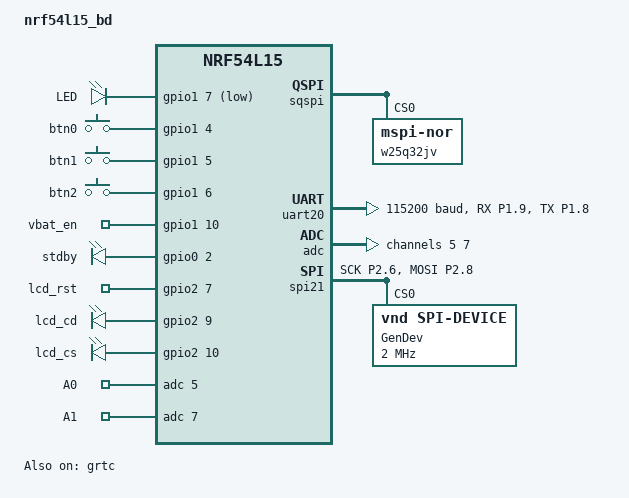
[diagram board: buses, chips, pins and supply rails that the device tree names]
/dts-v1/;
#include <nordic/nrf54l15_cpuapp.dtsi>
#include "NRF54L15_BD-pinctrl.dtsi"

/ {
	model = "nrf54l15_bd";
	compatible = "baram,NRF54L15-BD-cpuapp";

	chosen {
		zephyr,code-partition = &slot0_partition;
		zephyr,sram = &cpuapp_sram;
		zephyr,flash = &cpuapp_rram;
		zephyr,flash-controller = &rram_controller;
    zephyr,console = &uart20;
	};

  leds {
    compatible = "gpio-leds";
    led: led_0 {
      gpios = <&gpio1 7 GPIO_ACTIVE_LOW>;
      label = "LED";
    };
  };

  buttons {
		compatible = "gpio-keys";
		btn0: btn_0 { 
			gpios = <&gpio1 4 (GPIO_ACTIVE_HIGH)>;
			label = "btn0";
		};
		btn1: btn_1 {
			gpios = <&gpio1 5 (GPIO_ACTIVE_HIGH)>;
			label = "btn1";
		};  
		btn2: btn_2 {
			gpios = <&gpio1 6 (GPIO_ACTIVE_HIGH)>;
			label = "btn2";
		};
  };

  vbat_gpio {    		
		compatible = "gpio-leds";
    vbat_en: vbat_en {			
      gpios = <&gpio1 10 GPIO_ACTIVE_HIGH>;     
			label = "vbat_en";			 
    };

		stdby: stdby {
			gpios = <&gpio0 2 GPIO_OPEN_DRAIN>;
			label = "stdby";
		};
  };

  lcd_gpio {    		
		compatible = "gpio-leds";
    lcd_rst: lcd_rst {			
      gpios = <&gpio2 7 GPIO_ACTIVE_HIGH>;     
			label = "lcd_rst";			 
    };

		lcd_cd: lcd_cd {
			gpios = <&gpio2 9 GPIO_ACTIVE_HIGH>;
			label = "lcd_cd";
		};

		lcd_cs: lcd_cs {
			gpios = <&gpio2 10 GPIO_ACTIVE_HIGH>;
			label = "lcd_cs";
		};    
  };

	zephyr,user {
		io-channels = <&adc 5>, <&adc 7>;
		io-channel-names = "A0", "A1";
	};
};

/ {
	reserved-memory {
		#address-cells = <1>;
		#size-cells = <1>;
		ranges;

		softperipheral_ram: memory@2003c000 {
			reg = <0x2003c000 0x4000>;
			ranges = <0 0x2003c000 0x4000>;
			#address-cells = <1>;
			#size-cells = <1>;

			sqspi: sqspi@3b40 {
				compatible = "nordic,nrf-sqspi";
				#address-cells = <1>;
				#size-cells = <0>;
				reg = <0x3b40 0x200>;
				status = "okay";
				zephyr,pm-device-runtime-auto;
			};
		};
	};
};

&cpuflpr_vpr {
	pinctrl-0 = <&sqspi_default>;
	pinctrl-1 = <&sqspi_sleep>;
	pinctrl-names = "default", "sleep";
	interrupts = <76 NRF_DEFAULT_IRQ_PRIORITY>;
	status = "okay";
};

&sqspi {
	w25q32jv: w25q32jv@0 {
		compatible = "jedec,mspi-nor";
		status = "okay";
		reg = <0>;
		jedec-id = [ef 40 16];
    quad-enable-requirements = "S2B1v1";
		sfdp-bfp = [
			e5 20 f1 ff  ff ff ff 03  44 eb 08 6b  08 3b 04 bb
			ee ff ff ff  ff ff 00 ff  ff ff 00 ff  0c 20 0f 52
			10 d8 00 ff  23 72 f5 00  82 ed 04 cc  44 83 68 44
			30 b0 30 b0  f7 c4 d5 5c  00 be 29 ff  f0 d0 ff ff
		];
		size = <0x4000000>;
		has-dpd;
		t-enter-dpd = <3000>;
		t-exit-dpd = <30000>;
		t-reset-pulse = <10000>;
		t-reset-recovery = <35000>;

		mspi-max-frequency = <DT_FREQ_M(8)>;
		mspi-io-mode = "MSPI_IO_MODE_QUAD_1_1_4";
		mspi-data-rate = "MSPI_DATA_RATE_SINGLE";
		mspi-hardware-ce-num = <1>;
		mspi-cpp-mode = "MSPI_CPP_MODE_0";
		mspi-endian = "MSPI_BIG_ENDIAN";
		mspi-ce-polarity = "MSPI_CE_ACTIVE_LOW";
	};
}; 

&grtc {
	owned-channels = <0 1 2 3 4 5 6 7 8 9 10 11>;
	/* Channels 7-11 reserved for Zero Latency IRQs, 3-4 for FLPR */
	child-owned-channels = <3 4 7 8 9 10 11>;
	status = "okay";
};

&cpuapp_sram {
	status = "okay";
};

#include <nordic/nrf54l15_partition.dtsi>

&clock {
  status = "okay";
};

&gpio1 {
  status = "okay";
};

&gpio2 {
  status = "okay";
};

&gpiote20 {
  status = "okay";
};

&gpiote30 {
  status = "okay";
};

&gpio0 {
	status = "okay";
};

&uart20 {
  status = "okay";
  current-speed = <115200>;
  pinctrl-0 = <&uart20_default>;
  pinctrl-1 = <&uart20_sleep>;
  pinctrl-names = "default", "sleep";
};

&adc {
	status = "okay";
	#address-cells = <1>;
	#size-cells = <0>;
	status = "okay";
	channel@5 {
		reg = <5>;
		zephyr,gain = "ADC_GAIN_2_7";
		zephyr,reference = "ADC_REF_INTERNAL";
		zephyr,acquisition-time = <ADC_ACQ_TIME_DEFAULT>;
		zephyr,input-positive = <NRF_SAADC_AIN5>;
		zephyr,resolution = <12>;
	};	
	channel@7 {
		reg = <7>;
		zephyr,gain = "ADC_GAIN_2_7";
		zephyr,reference = "ADC_REF_INTERNAL";
		zephyr,acquisition-time = <ADC_ACQ_TIME_DEFAULT>;
		zephyr,input-positive = <NRF_SAADC_AIN7>; 
		zephyr,resolution = <12>;
	};		
};


&spi21 {
  compatible = "nordic,nrf-spim";
	status = "okay";
	pinctrl-0 = <&spi21_default>;
	pinctrl-1 = <&spi21_sleep>;
	pinctrl-names = "default", "sleep";
	// cs-gpios = <&gpio2 10 GPIO_ACTIVE_LOW>;
	zephyr,pm-device-runtime-auto;
	gendev: gendev@0 {
		compatible = "vnd,spi-device";
		reg = <0>;
		spi-max-frequency = <2000000>;
		label = "GenDev";
	};
};


&pinctrl {
  uart00_default: uart00_default {
    group1 {
      psels = <NRF_PSEL(UART_TX, 1, 8)>, <NRF_PSEL(UART_RX, 1, 9)>;
      low-power-enable;
    };
  };

  uart00_sleep: uart00_sleep {
    group1 {
      psels = <NRF_PSEL(UART_TX, 1, 8)>;
      bias-pull-down;
    };

    group2 {
      psels = <NRF_PSEL(UART_RX, 1, 9)>;
      low-power-enable;
    };
  };

  uart20_default: uart20_default {
    group1 {
      psels = <NRF_PSEL(UART_RX, 1, 9)>, <NRF_PSEL(UART_TX, 1, 8)>;
    };
  };

  uart20_sleep: uart20_sleep {
    group1 {
      psels = <NRF_PSEL(UART_RX, 1, 9)>;
    };
  };

	sqspi_default: sqspi_default {
		group1 {
			psels = <NRF_PSEL(SDP_MSPI_SCK, 2, 1)>,
				<NRF_PSEL(SDP_MSPI_CS0, 2, 5)>,
				<NRF_PSEL(SDP_MSPI_DQ0, 2, 2)>;
			nordic,drive-mode = <NRF_DRIVE_E0E1>;
		};
		group2 {
			psels = <NRF_PSEL(SDP_MSPI_DQ1, 2, 4)>,
				<NRF_PSEL(SDP_MSPI_DQ2, 2, 3)>,
				<NRF_PSEL(SDP_MSPI_DQ3, 2, 0)>;
			nordic,drive-mode = <NRF_DRIVE_E0E1>;
			bias-pull-up;
		};
	};

	sqspi_sleep: sqspi_sleep {
		group1 {
			low-power-enable;
			psels = <NRF_PSEL(SDP_MSPI_SCK, 2, 1)>,
				<NRF_PSEL(SDP_MSPI_CS0, 2, 5)>,
				<NRF_PSEL(SDP_MSPI_DQ0, 2, 2)>,
				<NRF_PSEL(SDP_MSPI_DQ1, 2, 4)>,
				<NRF_PSEL(SDP_MSPI_DQ2, 2, 3)>,
				<NRF_PSEL(SDP_MSPI_DQ3, 2, 0)>;
		};
	};  

	spi21_default: spi21_default {
		group1 {
				psels = <NRF_PSEL(SPIM_SCK,  2, 6)>,
						    <NRF_PSEL(SPIM_MOSI, 2, 8)>;
						// <NRF_PSEL(SPIM_MISO, 1, 2)>;
		};
	};

	spi21_sleep: spi21_sleep {
		group1 {
				psels = <NRF_PSEL(SPIM_SCK,  2, 6)>,
						    <NRF_PSEL(SPIM_MOSI, 2, 8)>;
						// <NRF_PSEL(SPIM_MISO, 1, 2)>;
				low-power-enable;
		};
	};	
};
